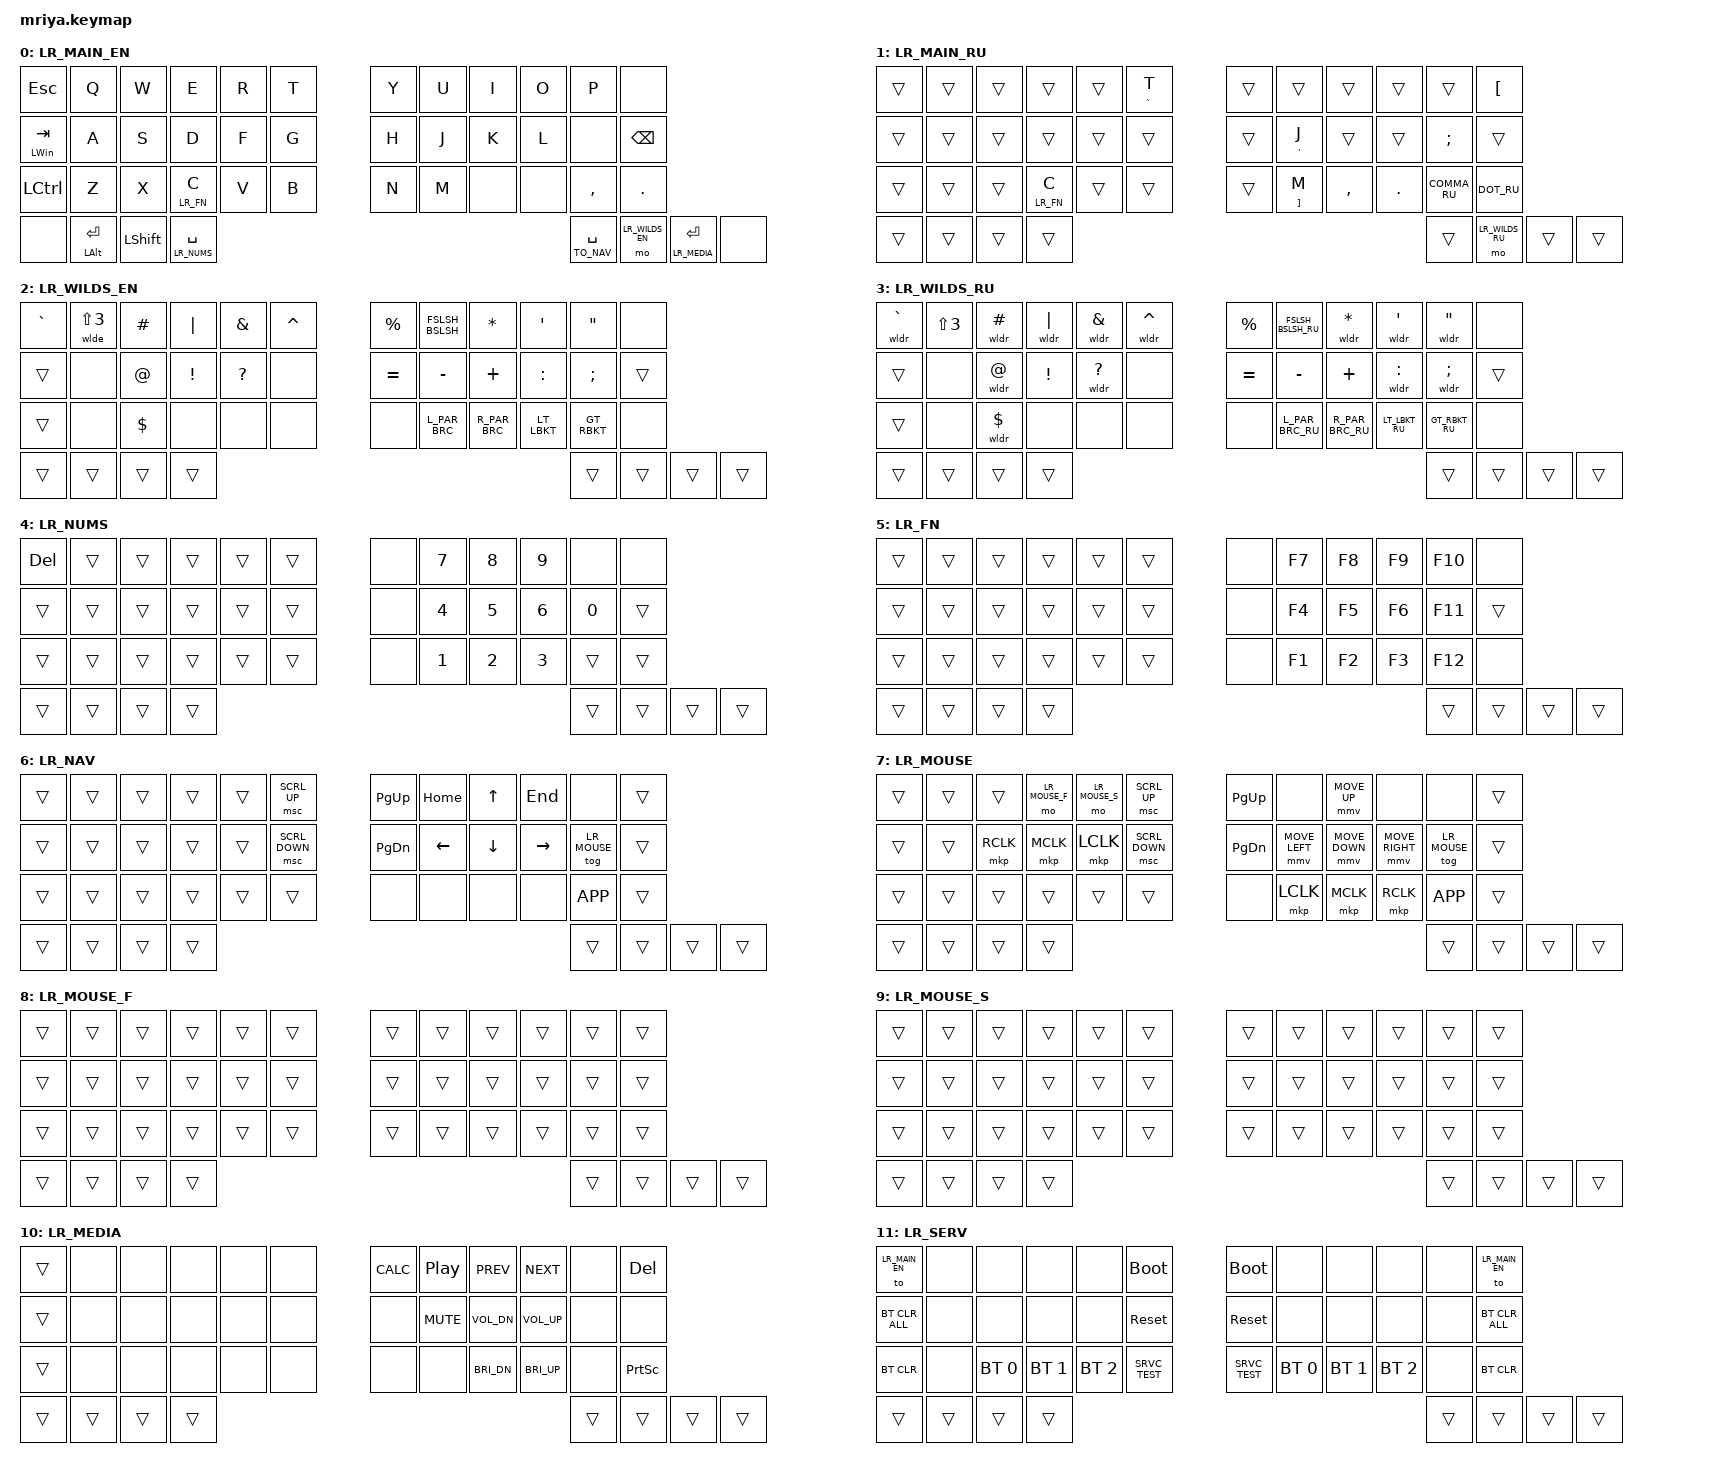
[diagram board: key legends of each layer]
#include <behaviors.dtsi>
#include <dt-bindings/zmk/keys.h>
#include <dt-bindings/zmk/bt.h>
#include <dt-bindings/zmk/pointing.h>
#include <input/processors.dtsi>

// times (ms)
#define TAP_TIME_SHORT 10
#define TAP_TIME_NORMAL 30

#define WAITING_TIME_NULL 0
#define WAITING_TIME_SHORT 5
#define LONG_HOLD 5000

// layers
#define LR_MAIN_EN   0
#define LR_MAIN_RU   1
#define LR_WILDS_EN  2
#define LR_WILDS_RU  3
#define LR_NUMS      4
#define LR_FN        5
#define LR_NAV       6
#define LR_MOUSE     7  // general mouse
#define LR_MOUSE_F   8  // fast mouse
#define LR_MOUSE_S   9  // slow mouse
#define LR_MEDIA     10
#define LR_SERV      11

// hotkeys (hkey)
#define OS_EN_LAYOUT_HKEY LA(LS(N8)) // OS hotkey for EN (alt + shift + 8)
#define OS_RU_LAYOUT_HKEY LA(LS(N9)) // OS hotkey for RU (alt + shift + 9)

// RU hotkeys
#define COMMA_RU_HKEY LS(FSLH) // shift + /
#define DOT_RU_KEY FSLH        // /
#define NUMERO_RU_HKEY LS(N3)  // shift + 3

// key indexes
#define LEFT_HAND_KEYS_INDEXES \
0  1  2  3  4  5     \
12 13 14 15 16 17    \
24 25 26 27 28 29
#define LEFT_THUMB_KEYS_INDEXES 36 37 38 39

#define RIGHT_HAND_KEYS_INDEXES \
6  7  8  9 10 11      \
18 19 20 21 22 23     \
30 31 32 33 34 35
#define RIGHT_THUMB_KEYS_INDEXES 40 41 42 43
#define K_KEY_INDEX 20
#define L_KEY_INDEX 21

// tap global params
&lt { quick_tap_ms = <100>; };
&mt { quick-tap-ms = <400>; };

// tap mods
/ {
  behaviors {
    // custom mod-tap
    cmt: cmt {
      compatible = "zmk,behavior-hold-tap";
      #binding-cells = <2>;
      flavor = "tap-preferred";
      tapping-term-ms = <200>;
      quick-tap-ms = <200>;
      bindings = <&kp>, <&kp>; // <hold fn>, <tap fn>;
    };
    // custom nav mod-tap
    navmt: navmt {
      compatible = "zmk,behavior-hold-tap";
      #binding-cells = <2>;
      flavor = "tap-preferred";
      tapping-term-ms = <200>;
      quick-tap-ms = <200>;
      bindings = <&TO_NAV>, <&kp>; // <hold fn>, <tap fn>;
    };
    // hold-tap for layer (tap for nothing, hold 5s to activate layer)
    serv_ht: serv_ht {
      compatible = "zmk,behavior-hold-tap";
      #binding-cells = <2>;
      flavor = "hold-preferred";
      tapping-term-ms = <LONG_HOLD>;
      bindings = <&to>, <&kp>;
    };
    // toggle off layer
    tog_off: tog_off {
      compatible = "zmk,behavior-toggle-layer";
      #binding-cells = <1>;
      display-name = "Toggle Layer Off";
      toggle-mode = "off";
    };
  };
};

// keys with mods
/ {
  behaviors {
    // locale switcher
    EN_RU_SWITCHER: EN_RU_SWITCHER {
      compatible = "zmk,behavior-mod-morph";
      #binding-cells = <0>;
      bindings = <&TO_LR_MAIN_EN>, <&TO_LR_MAIN_RU>;
      mods = <(MOD_LCTL)>;
    };
    // RU keys
    COMMA_RU: COMMA_RU {
      compatible = "zmk,behavior-mod-morph";
      #binding-cells = <0>;
      bindings = <&kp COMMA_RU_HKEY>, <&kp COMMA>;
      mods = <(MOD_LCTL|MOD_LALT|MOD_LGUI)>;
      keep-mods = <(MOD_LCTL|MOD_LALT|MOD_LGUI)>;
    };
    // wild keys
    DOT_RU: DOT_RU {
      compatible = "zmk,behavior-mod-morph";
      #binding-cells = <0>;
      bindings = <&kp DOT_RU_KEY>, <&kp DOT>;
      mods = <(MOD_LCTL|MOD_LALT|MOD_LGUI)>;
      keep-mods = <(MOD_LCTL|MOD_LALT|MOD_LGUI)>;
    };
    FSLSH_BSLSH: FSLSH_BSLSH {
      compatible = "zmk,behavior-mod-morph";
      #binding-cells = <0>;
      bindings = <&kp FSLH>, <&kp BSLH>;
      mods = <(MOD_LSFT)>;
    };
    L_PAR_BRC: L_PAR_BRC {
      compatible = "zmk,behavior-mod-morph";
      #binding-cells = <0>;
      bindings = <&kp LPAR>, <&kp LBRC>;
      mods = <(MOD_LSFT)>;
    };
    R_PAR_BRC: R_PAR_BRC {
      compatible = "zmk,behavior-mod-morph";
      #binding-cells = <0>;
      bindings = <&kp RPAR>, <&kp RBRC>;
      mods = <(MOD_LSFT)>;
    };
    LT_LBKT: LT_LBKT {
      compatible = "zmk,behavior-mod-morph";
      #binding-cells = <0>;
      bindings = <&kp LT>, <&kp LBKT>;
      mods = <(MOD_LSFT)>;
    };
    GT_RBKT: GT_RBKT {
      compatible = "zmk,behavior-mod-morph";
      #binding-cells = <0>;
      bindings = <&kp GT>, <&kp RBKT>;
      mods = <(MOD_LSFT)>;
    };
  };
};

/ {
  macros {
    // layer switching macros
    TO_LR_MAIN_EN: TO_LR_MAIN_EN {
      compatible = "zmk,behavior-macro";
      #binding-cells = <0>;
      wait-ms = <WAITING_TIME_NULL>;
      tap-ms = <TAP_TIME_SHORT>;
      bindings =
      <&kp OS_EN_LAYOUT_HKEY>,
      <&to LR_MAIN_EN>;
    };
    TO_LR_MAIN_RU: TO_LR_MAIN_RU {
      compatible = "zmk,behavior-macro";
      #binding-cells = <0>;
      wait-ms = <WAITING_TIME_NULL>;
      tap-ms = <TAP_TIME_SHORT>;
      bindings =
      <&kp OS_RU_LAYOUT_HKEY>,
      <&to LR_MAIN_RU>;
    };
    TO_WILDS_RU: TO_WILDS_RU {
      compatible = "zmk,behavior-macro";
      #binding-cells = <0>;
      wait-ms = <WAITING_TIME_NULL>;
      tap-ms = <TAP_TIME_SHORT>;
      bindings =
      <&kp OS_EN_LAYOUT_HKEY>,
      <&to LR_WILDS_EN>,
      <&macro_pause_for_release>,
      <&to LR_MAIN_RU>,
      <&kp OS_RU_LAYOUT_HKEY>;
    };
    TO_NAV: TO_NAV {
      compatible = "zmk,behavior-macro";
      #binding-cells = <0>;
      wait-ms = <WAITING_TIME_NULL>;
      tap-ms = <TAP_TIME_SHORT>;
      bindings =
      <&macro_press &mo LR_NAV>,
      <&macro_pause_for_release>,
      <&tog_off LR_MOUSE>,
      <&macro_release &mo LR_NAV>;
    };
    // wild layer macros
    wlde: wlde { // for EN wild layer
      compatible = "zmk,behavior-macro-one-param";
      #binding-cells = <1>;
      wait-ms = <WAITING_TIME_NULL>;
      tap-ms = <TAP_TIME_SHORT>;
      bindings =
      <&kp OS_RU_LAYOUT_HKEY>,
      <&macro_param_1to1>,
      <&kp MACRO_PLACEHOLDER>,
      <&kp OS_EN_LAYOUT_HKEY>;
    };
    wldr: wldr { // for RU wild layer
      compatible = "zmk,behavior-macro-one-param";
      #binding-cells = <1>;
      wait-ms = <WAITING_TIME_NULL>;
      tap-ms = <TAP_TIME_SHORT>;
      bindings =
      <&kp OS_EN_LAYOUT_HKEY>,
      <&macro_param_1to1>,
      <&kp MACRO_PLACEHOLDER>,
      <&kp OS_RU_LAYOUT_HKEY>;
    };
    // RU wild keys
    FSLSH_BSLSH_RU: FSLSH_BSLSH_RU {
      compatible = "zmk,behavior-macro";
      #binding-cells = <0>;
      wait-ms = <WAITING_TIME_NULL>;
      tap-ms = <TAP_TIME_SHORT>;
      bindings =
      <&kp OS_EN_LAYOUT_HKEY>,
      <&FSLSH_BSLSH>,
      <&kp OS_RU_LAYOUT_HKEY>;
    };
    L_PAR_BRC_RU: L_PAR_BRC_RU {
      compatible = "zmk,behavior-macro";
      #binding-cells = <0>;
      wait-ms = <WAITING_TIME_NULL>;
      tap-ms = <TAP_TIME_SHORT>;
      bindings =
      <&kp OS_EN_LAYOUT_HKEY>,
      <&L_PAR_BRC>,
      <&kp OS_RU_LAYOUT_HKEY>;
    };
    R_PAR_BRC_RU: R_PAR_BRC_RU {
      compatible = "zmk,behavior-macro";
      #binding-cells = <0>;
      wait-ms = <WAITING_TIME_NULL>;
      tap-ms = <TAP_TIME_SHORT>;
      bindings =
      <&kp OS_EN_LAYOUT_HKEY>,
      <&R_PAR_BRC>,
      <&kp OS_RU_LAYOUT_HKEY>;
    };
    LT_LBKT_RU: LT_LBKT_RU {
      compatible = "zmk,behavior-macro";
      #binding-cells = <0>;
      wait-ms = <WAITING_TIME_NULL>;
      tap-ms = <TAP_TIME_SHORT>;
      bindings =
      <&kp OS_EN_LAYOUT_HKEY>,
      <&LT_LBKT>,
      <&kp OS_RU_LAYOUT_HKEY>;
    };
    GT_RBKT_RU: GT_RBKT_RU {
      compatible = "zmk,behavior-macro";
      #binding-cells = <0>;
      wait-ms = <WAITING_TIME_NULL>;
      tap-ms = <TAP_TIME_SHORT>;
      bindings =
      <&kp OS_EN_LAYOUT_HKEY>,
      <&GT_RBKT>,
      <&kp OS_RU_LAYOUT_HKEY>;
    };
    // service layer test output
    SRVC_TEST: SRVC_TEST {
      compatible = "zmk,behavior-macro";
      #binding-cells = <0>;
      wait-ms = <WAITING_TIME_NULL>;
      tap-ms = <TAP_TIME_SHORT>;
      bindings =
      <&kp S>,<&kp E>,<&kp R>,<&kp V>,<&kp I>,<&kp C>,<&kp E>; // 'service'
    };
  };
};

/ {
  combos {
    compatible = "zmk,combos";
    // EN-RU layout switcher
    switch_lang {
      timeout-ms = <30>;
      key-positions = <K_KEY_INDEX L_KEY_INDEX>;
      layers = <LR_MAIN_EN LR_MAIN_RU>; 
      bindings = <&EN_RU_SWITCHER>;
    };
    // go to service layer on P+[ hold 5s
    to_serv_hold_left {
      timeout-ms = <200>;
      key-positions = <0 1>;
      bindings = <&serv_ht LR_SERV K_CANCEL>;
    };
    // go to service layer on ESC+Q hold 5s
    to_serv_hold_right {
      timeout-ms = <200>;
      key-positions = <10 11>;
      bindings = <&serv_ht LR_SERV K_CANCEL>;
    };
  };
};

// '&mmv', '&mmv_input_listener' (from proostas: https://github.com/proostas/colemator-layout-zmk-module/blob/main/include/colemator/mouse.dtsi)
&mmv {
  acceleration-exponent = <1>;  // 1
  time-to-max-speed-ms = <300>; // 300
  delay-ms = <0>;
  trigger-period-ms = <8>;      // 16
};
&mmv_input_listener {
  fast {
    layers = <LR_MOUSE_F>;
    input-processors = <&zip_xy_scaler 2 1>;
  };
  slow {
    layers = <LR_MOUSE_S>;
    input-processors = <&zip_xy_scaler 1 3>;
  };
};

/ {
  keymap {
    compatible = "zmk,keymap";
    
    LR_MAIN_EN {
      bindings = <
      // row 1
      &kp ESC        &kp Q   &kp W   &kp E         &kp R   &kp T            &kp Y   &kp U   &kp I   &kp O   &kp P       &none
      // row 2
      &mt LWIN TAB   &kp A   &kp S   &kp D         &kp F   &kp G            &kp H   &kp J   &kp K   &kp L   &none       &kp BSPC
      // row 3
      &kp LCTRL      &kp Z   &kp X   &lt LR_FN C   &kp V   &kp B            &kp N   &kp M   &none   &none   &kp COMMA   &kp DOT
      // thumb row
      &none   &mt LALT ENTER   &kp LSHFT   &lt LR_NUMS SPACE                &navmt 0 SPACE   &mo LR_WILDS_EN   &lt LR_MEDIA ENTER   &none
      >;
    };
    
    LR_MAIN_RU {
      bindings = <
      // row 1
      &trans   &trans   &trans   &trans        &trans   &cmt GRAVE T            &trans   &trans        &trans      &trans    &trans      &kp LBKT
      // row 2
      &trans   &trans   &trans   &trans        &trans   &trans                  &trans   &cmt SQT J    &trans      &trans    &kp SEMI    &trans
      // row 3
      &trans   &trans   &trans   &lt LR_FN C   &trans   &trans                  &trans   &cmt RBKT M   &kp COMMA   &kp DOT   &COMMA_RU   &DOT_RU
      // thumb row
      &trans   &trans   &trans   &trans                                         &trans   &mo LR_WILDS_RU   &trans   &trans
      >;
    };
    
    LR_WILDS_EN {
      bindings = <
      // row 1
      &kp GRAVE   &wlde NUMERO_RU_HKEY   &kp HASH   &kp PIPE   &kp AMPS    &kp CARET            &kp PRCNT   &FSLSH_BSLSH   &kp ASTRK    &kp SQT     &kp DQT    &none
      // row 2
      &trans      &none                  &kp AT     &kp EXCL   &kp QMARK   &none                &kp EQUAL   &kp MINUS      &kp PLUS     &kp COLON   &kp SEMI   &trans
      // row 3
      &trans      &none                  &kp DLLR   &none      &none       &none                &none       &L_PAR_BRC     &R_PAR_BRC   &LT_LBKT    &GT_RBKT   &none
      // thumb row
      &trans   &trans   &trans   &trans                                                         &trans   &trans   &trans   &trans
      >;
    };
    
    LR_WILDS_RU {
      bindings = <
      // row 1
      &wldr GRAVE   &kp NUMERO_RU_HKEY   &wldr HASH   &wldr PIPE   &wldr AMPS    &wldr CARET            &kp PRCNT   &FSLSH_BSLSH_RU   &wldr ASTRK     &wldr SQT     &wldr DQT     &none
      // row 2
      &trans        &none                &wldr AT     &kp EXCL     &wldr QMARK   &none                  &kp EQUAL   &kp MINUS         &kp PLUS        &wldr COLON   &wldr SEMI    &trans
      // row 3
      &trans        &none                &wldr DLLR   &none        &none         &none                  &none       &L_PAR_BRC_RU     &R_PAR_BRC_RU   &LT_LBKT_RU   &GT_RBKT_RU   &none
      // thumb row
      &trans   &trans   &trans   &trans                                                                 &trans   &trans   &trans   &trans
      >;
    };
    
    LR_NUMS {
      bindings = <
      // row 1
      &kp DEL   &trans   &trans    &trans   &trans   &trans            &none   &kp N7   &kp N8   &kp N9   &none    &none
      // row 2
      &trans    &trans   &trans    &trans   &trans   &trans            &none   &kp N4   &kp N5   &kp N6   &kp N0   &trans
      // row 3
      &trans    &trans   &trans    &trans   &trans   &trans            &none   &kp N1   &kp N2   &kp N3   &trans   &trans
      // thumb row
      &trans   &trans   &trans   &trans                                &trans   &trans   &trans   &trans
      >;
    };
    
    LR_FN {
      bindings = <
      // row 1
      &trans   &trans   &trans    &trans   &trans   &trans            &none   &kp F7   &kp F8   &kp F9   &kp F10   &none
      // row 2
      &trans   &trans   &trans    &trans   &trans   &trans            &none   &kp F4   &kp F5   &kp F6   &kp F11   &trans
      // row 3
      &trans   &trans   &trans    &trans   &trans   &trans            &none   &kp F1   &kp F2   &kp F3   &kp F12   &none
      // thumb row
      &trans   &trans   &trans   &trans                               &trans   &trans   &trans   &trans
      >;
    };
    
    LR_NAV {
      bindings = <
      // row 1
      &trans   &trans   &trans   &trans   &trans   &msc SCRL_UP              &kp PG_UP   &kp HOME   &kp UP     &kp END     &none           &trans
      // row 2
      &trans   &trans   &trans   &trans   &trans   &msc SCRL_DOWN            &kp PG_DN   &kp LEFT   &kp DOWN   &kp RIGHT   &tog LR_MOUSE   &trans
      // row 3
      &trans   &trans   &trans   &trans   &trans   &trans                    &none       &none      &none      &none       &kp K_APP       &trans
      // thumb row
      &trans   &trans   &trans   &trans                                      &trans   &trans   &trans   &trans
      >;
    };
    
    LR_MOUSE {
      bindings = <
      // row 1
      &trans   &trans   &trans      &mo LR_MOUSE_F   &mo LR_MOUSE_S   &msc SCRL_UP              &kp PG_UP   &none            &mmv MOVE_UP     &none             &none           &trans
      // row 2
      &trans   &trans   &mkp RCLK   &mkp MCLK        &mkp LCLK        &msc SCRL_DOWN            &kp PG_DN   &mmv MOVE_LEFT   &mmv MOVE_DOWN   &mmv MOVE_RIGHT   &tog LR_MOUSE   &trans
      // row 3
      &trans   &trans   &trans      &trans           &trans           &trans                    &none       &mkp LCLK        &mkp MCLK        &mkp RCLK         &kp K_APP       &trans
      // thumb row
      &trans   &trans   &trans   &trans                                                         &trans   &trans   &trans   &trans
      >;
    };
    
    LR_MOUSE_F {
      bindings = <
      // row 1
      &trans   &trans   &trans   &trans   &trans   &trans            &trans   &trans   &trans   &trans   &trans   &trans
      // row 2
      &trans   &trans   &trans   &trans   &trans   &trans            &trans   &trans   &trans   &trans   &trans   &trans
      // row 3
      &trans   &trans   &trans   &trans   &trans   &trans            &trans   &trans   &trans   &trans   &trans   &trans
      // thumb row
      &trans   &trans   &trans   &trans                              &trans   &trans   &trans   &trans
      >;
    };
    
    LR_MOUSE_S {
      bindings = <
      // row 1
      &trans   &trans   &trans   &trans   &trans   &trans            &trans   &trans   &trans   &trans   &trans   &trans
      // row 2
      &trans   &trans   &trans   &trans   &trans   &trans            &trans   &trans   &trans   &trans   &trans   &trans
      // row 3
      &trans   &trans   &trans   &trans   &trans   &trans            &trans   &trans   &trans   &trans   &trans   &trans
      // thumb row
      &trans   &trans   &trans   &trans                              &trans   &trans   &trans   &trans
      >;
    };
    
    
    
    LR_MEDIA {
      bindings = <
      // row 1
      &trans   &none   &none   &none   &none   &none            &kp K_CALC   &kp C_PP     &kp C_PREV     &kp C_NEXT     &none   &kp DEL
      // row 2
      &trans   &none   &none   &none   &none   &none            &none        &kp C_MUTE   &kp C_VOL_DN   &kp C_VOL_UP   &none   &none
      // row 3
      &trans   &none   &none   &none   &none   &none            &none        &none        &kp C_BRI_DN   &kp C_BRI_UP   &none   &kp PSCRN
      // thumb row
      &trans   &trans   &trans   &trans                         &trans   &trans   &trans   &trans
      >;
    };
    
    LR_SERV {
      bindings = <
      // row 1
      &to LR_MAIN_EN   &none   &none          &none          &none          &bootloader            &bootloader   &none          &none          &none          &none   &to LR_MAIN_EN
      // row 2
      &bt BT_CLR_ALL   &none   &none          &none          &none          &sys_reset             &sys_reset    &none          &none          &none          &none   &bt BT_CLR_ALL
      // row 3
      &bt BT_CLR       &none   &bt BT_SEL 0   &bt BT_SEL 1   &bt BT_SEL 2   &SRVC_TEST             &SRVC_TEST    &bt BT_SEL 0   &bt BT_SEL 1   &bt BT_SEL 2   &none   &bt BT_CLR 
      // thumb row
      &trans   &trans   &trans   &trans                                                            &trans   &trans   &trans   &trans
      >;
    };
  };
};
